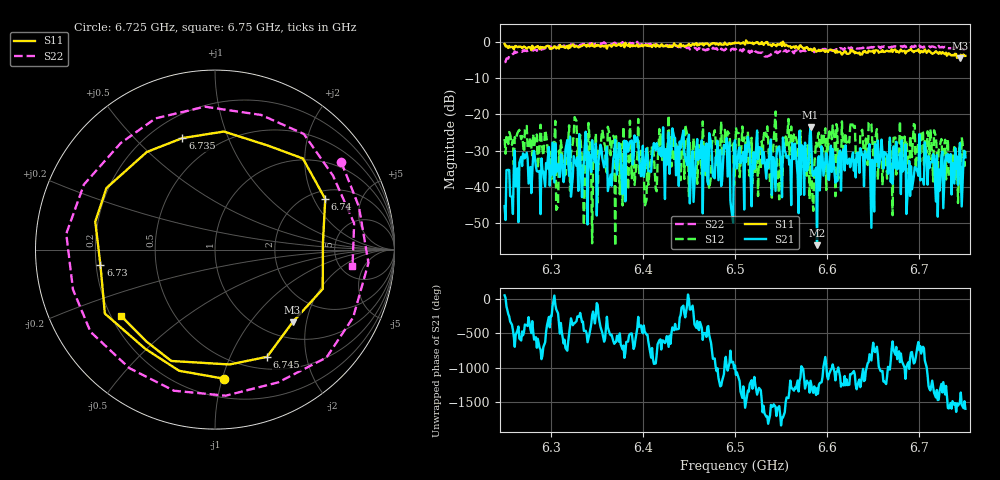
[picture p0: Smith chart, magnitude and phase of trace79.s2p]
# Hz S RI R 50
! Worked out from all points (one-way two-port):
!   401 points, 6.25 GHz to 6.75 GHz, reference 50 ohm
!   highest |S21| = -23.45 dB at 6.582 GHz (marker M1); lowest = -56.1 dB at 6.589 GHz (marker M2)
!   lowest |S11| = -4.6 dB at 6.744 GHz (marker M3), VSWR 3.90, Z = 66.8 - j83.2 ohm
!   |S11| at or under -10 dB: nowhere
!   |S22| runs from -5.6 to 0.0 dB; largest |S21 - S12| = 0.15
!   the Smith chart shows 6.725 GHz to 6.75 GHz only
!   S11 on the Smith chart (normalised r, x): 6.725 GHz: 0.34, -1.01; 6.73 GHz: 0.22, -0.06; 6.735 GHz: 0.33, +0.70; 6.74 GHz: 2.38, +2.47; 6.745 GHz: 0.65, -1.39; 6.75 GHz: 0.24, -0.30
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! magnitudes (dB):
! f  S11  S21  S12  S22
! 6.25 GHz  -0.6  -45.3  -26.8  -5.6
! 6.272 GHz  -1.4  -32.1  -24.3  -2.3
! 6.309 GHz  -1.9  -35.0  -30.0  -1.0
! 6.328 GHz  -1.1  -34.3  -21.9  -1.0
! 6.334 GHz  -1.1  -42.8  -32.5  -0.7
! 6.418 GHz  -1.3  -31.1  -24.0  -1.1
! 6.5 GHz  -0.2  -27.1  -35.2  -1.9
! 6.534 GHz  -0.1  -37.7  -26.2  -4.0
! 6.549 GHz  -0.6  -31.9  -31.6  -2.6
! 6.564 GHz  -1.3  -32.3  -25.3  -3.2
! 6.582 GHz  -1.9  -23.5  -28.7  -2.0
! 6.584 GHz  -2.5  -36.1  -42.8  -2.1
! 6.589 GHz  -2.5  -56.1  -28.9  -2.1
! 6.628 GHz  -2.7  -30.6  -23.0  -1.9
! 6.668 GHz  -2.6  -26.4  -26.3  -1.5
! 6.725 GHz  -2.8  -30.3  -31.8  -1.4
! 6.73 GHz  -3.8  -32.7  -30.4  -1.3
! 6.735 GHz  -3.8  -42.1  -36.1  -1.8
! 6.74 GHz  -3.4  -34.9  -38.3  -1.8
! 6.744 GHz  -4.6  -27.9  -27.9  -2.0
! 6.745 GHz  -3.6  -36.5  -39.2  -2.0
! 6.75 GHz  -3.9  -31.9  -30.1  -2.3
